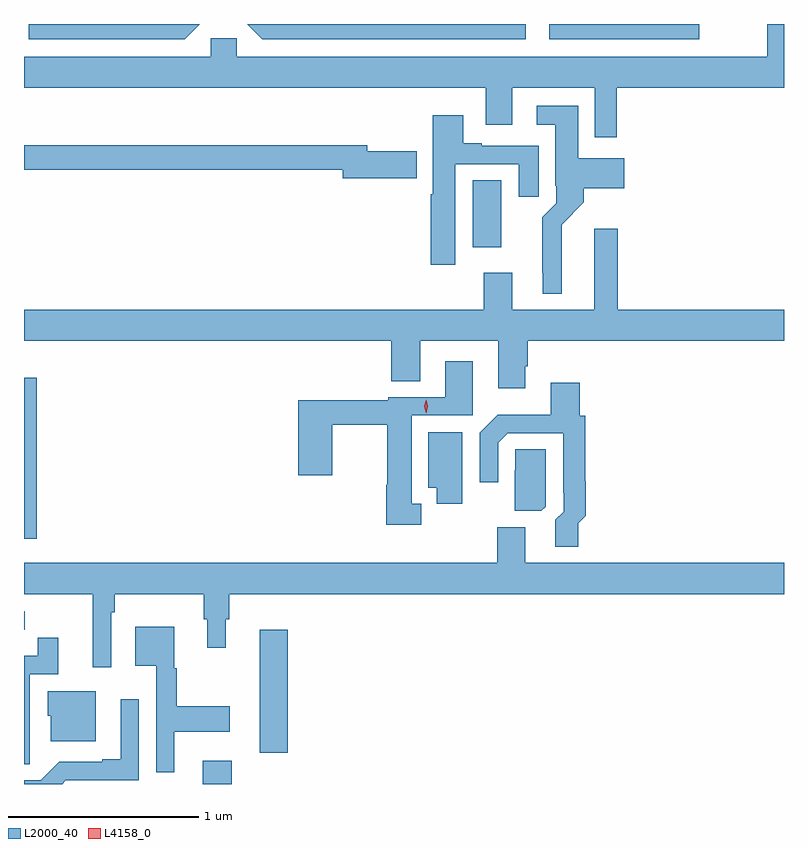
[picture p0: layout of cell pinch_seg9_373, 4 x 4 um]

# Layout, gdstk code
import gdstk
lib = gdstk.Library(unit=1e-6, precision=1e-09)
def R(c, l, rs):  # rectangles x0, y0, x1, y1
    for r in rs: c.add(gdstk.rectangle(r[:2], r[2:], *l))
def P(c, l, *ps):  # polygons
    for p in ps: c.add(gdstk.Polygon(p, *l))
L2000_40 = (2000, 40)
L4158_0 = (4158, 0)

pinch_seg9_373 = lib.new_cell('pinch_seg9_373')
R(pinch_seg9_373, L2000_40, [(281.378,1236.712,281.531,1236.835), (281.678,1236.876,281.825,1237.525), (280.438,1237.524,280.441,1237.62), (280.438,1238.004,280.505,1238.851), (282.8,1239.537,282.949,1239.89), (283.202,1240.632,283.993,1240.712)])
P(pinch_seg9_373, L2000_40, [(283.078,1240.712),(281.613,1240.712),(281.693,1240.632),(283.078,1240.632)],
  [(281.363,1240.712),(280.463,1240.712),(280.463,1240.632),(281.283,1240.632)],
  [(283.559,1240.376),(284.438,1240.376),(284.438,1240.712),(284.351,1240.712),(284.351,1240.54),(281.559,1240.54),(281.559,1240.638),(281.421,1240.638),(281.421,1240.54),(280.438,1240.54),(280.438,1240.376),(282.869,1240.376),(282.869,1240.182),(283.009,1240.182),(283.009,1240.376),(283.443,1240.376),(283.443,1240.116),(283.559,1240.116)],
  [(283.267,1239.656),(283.385,1239.774),(283.385,1239.848),(283.597,1239.848),(283.597,1240.006),(283.354,1240.006),(283.354,1240.282),(283.137,1240.282),(283.137,1240.181),(283.235,1240.181),(283.235,1239.862),(283.239,1239.862),(283.239,1239.768),(283.165,1239.694),(283.165,1239.403),(283.169,1239.403),(283.169,1239.293),(283.267,1239.293)],
  [(282.709,1239.975),(283.043,1239.975),(283.043,1239.804),(283.147,1239.804),(283.147,1240.071),(282.847,1240.071),(282.847,1240.084),(282.751,1240.084),(282.751,1240.231),(282.59,1240.231),(282.59,1239.815),(282.578,1239.815),(282.578,1239.444),(282.709,1239.444)],
  [(282.505,1240.041),(282.244,1240.041),(282.244,1240.075),(280.438,1240.075),(280.438,1239.946),(282.116,1239.946),(282.116,1239.899),(282.505,1239.899)],
  [(283.075,1238.911),(283.088,1238.911),(283.088,1239.044),(284.438,1239.044),(284.438,1239.208),(283.562,1239.208),(283.562,1239.634),(283.439,1239.634),(283.439,1239.208),(283.009,1239.208),(283.009,1239.403),(282.857,1239.403),(282.857,1239.208),(280.438,1239.208),(280.438,1239.044),(282.371,1239.044),(282.371,1238.833),(282.523,1238.833),(282.523,1239.044),(282.935,1239.044),(282.935,1238.796),(283.075,1238.796)],
  [(282.53,1238.186),(282.478,1238.186),(282.478,1238.652),(282.799,1238.652),(282.799,1238.938),(282.656,1238.938),(282.656,1238.748),(282.356,1238.748),(282.356,1238.731),(281.882,1238.731),(281.882,1238.337),(282.06,1238.337),(282.06,1238.602),(282.349,1238.602),(282.349,1238.288),(282.344,1238.288),(282.344,1238.076),(282.53,1238.076)],
  [(283.355,1238.085),(283.394,1238.124),(283.394,1238.306),(283.391,1238.306),(283.391,1238.649),(283.364,1238.649),(283.364,1238.824),(283.211,1238.824),(283.211,1238.656),(282.931,1238.656),(282.837,1238.562),(282.837,1238.301),(282.933,1238.301),(282.933,1238.508),(282.984,1238.559),(283.275,1238.559),(283.275,1238.245),(283.278,1238.245),(283.278,1238.145),(283.235,1238.102),(283.235,1237.962),(283.355,1237.962)],
  [(282.745,1238.563),(282.566,1238.563),(282.566,1238.27),(282.611,1238.27),(282.611,1238.186),(282.745,1238.186)],
  [(283.185,1238.172),(283.185,1238.474),(283.023,1238.474),(283.023,1238.363),(283.022,1238.363),(283.022,1238.149),(283.161,1238.149)],
  [(280.896,1237.616),(280.916,1237.616),(280.916,1237.712),(281.383,1237.712),(281.383,1237.578),(281.402,1237.578),(281.402,1237.428),(281.5,1237.428),(281.5,1237.578),(281.519,1237.578),(281.519,1237.712),(284.438,1237.712),(284.438,1237.876),(283.075,1237.876),(283.075,1238.064),(282.928,1238.064),(282.928,1237.876),(280.438,1237.876),(280.438,1237.712),(280.799,1237.712),(280.799,1237.326),(280.896,1237.326)],
  [(281.23,1236.986),(281.521,1236.986),(281.521,1237.121),(281.242,1237.121),(281.242,1237.32),(281.23,1237.32),(281.23,1237.54),(281.024,1237.54),(281.024,1237.334),(281.133,1237.334),(281.133,1236.774),(281.23,1236.774)],
  [(280.467,1236.928),(280.468,1236.928),(280.468,1237.29),(280.619,1237.29),(280.619,1237.483),(280.51,1237.483),(280.51,1237.386),(280.438,1237.386),(280.438,1236.817),(280.467,1236.817)],
  [(280.816,1237.201),(280.562,1237.201),(280.562,1237.071),(280.58,1237.071),(280.58,1236.938),(280.816,1236.938)],
  [(280.659,1236.732),(281.043,1236.732),(281.043,1237.159),(280.946,1237.159),(280.946,1236.841),(280.85,1236.841),(280.85,1236.828),(280.623,1236.828),(280.527,1236.732),(280.438,1236.732),(280.438,1236.712),(280.639,1236.712)])
P(pinch_seg9_373, L4158_0, [(282.554,1238.663),(282.554,1238.664),(282.544,1238.699),(282.554,1238.735),(282.554,1238.735),(282.555,1238.735),(282.564,1238.699),(282.554,1238.664)])

lib.write_gds('pinch_seg9_373.gds')
